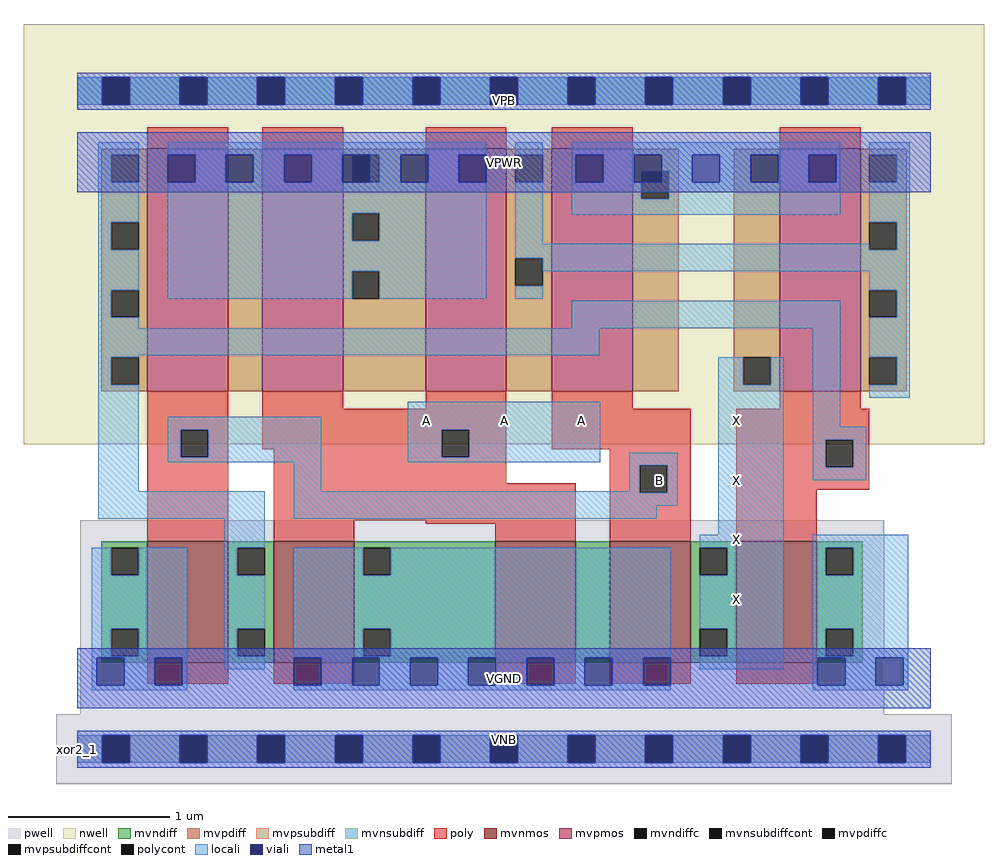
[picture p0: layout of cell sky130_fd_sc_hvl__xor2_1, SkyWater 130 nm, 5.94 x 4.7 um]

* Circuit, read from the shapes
.subckt sky130_fd_sc_hvl__xor2_1 A B VGND VNB VPB VPWR X
XM1 n1 B VGND VNB sky130_fd_pr__nfet_g5v0d10v5 w=0.75 l=0.5
XM2 VGND A n1 VNB sky130_fd_pr__nfet_g5v0d10v5 w=0.75 l=0.5
XM3 n2 A VGND VNB sky130_fd_pr__nfet_g5v0d10v5 w=0.75 l=0.5
XM4 X B n2 VNB sky130_fd_pr__nfet_g5v0d10v5 w=0.75 l=0.5
XM5 VGND n1 X VNB sky130_fd_pr__nfet_g5v0d10v5 w=0.75 l=0.5
XM6 n3 B n1 VPB sky130_fd_pr__pfet_g5v0d10v5 w=1.5 l=0.5
XM7 VPWR A n3 VPB sky130_fd_pr__pfet_g5v0d10v5 w=1.5 l=0.5
XM8 n4 A VPWR VPB sky130_fd_pr__pfet_g5v0d10v5 w=1.5 l=0.5
XM9 VPWR B n4 VPB sky130_fd_pr__pfet_g5v0d10v5 w=1.5 l=0.5
XM10 n4 n1 X VPB sky130_fd_pr__pfet_g5v0d10v5 w=1.5 l=0.5
.ends

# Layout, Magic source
magic
tech sky130B
magscale 1 2
<< nwell >>
rect -66 377 1122 897
<< pwell >>
rect 4 43 998 283
rect -26 -43 1082 43
<< mvnmos >>
rect 87 107 187 257
rect 243 107 343 257
rect 517 107 617 257
rect 659 107 759 257
rect 815 107 915 257
<< mvpmos >>
rect 87 443 187 743
rect 229 443 329 743
rect 431 443 531 743
rect 587 443 687 743
rect 869 443 969 743
<< mvndiff >>
rect 30 249 87 257
rect 30 215 42 249
rect 76 215 87 249
rect 30 149 87 215
rect 30 115 42 149
rect 76 115 87 149
rect 30 107 87 115
rect 187 249 243 257
rect 187 215 198 249
rect 232 215 243 249
rect 187 149 243 215
rect 187 115 198 149
rect 232 115 243 149
rect 187 107 243 115
rect 343 249 517 257
rect 343 215 354 249
rect 388 215 517 249
rect 343 149 517 215
rect 343 115 354 149
rect 388 115 517 149
rect 343 107 517 115
rect 617 107 659 257
rect 759 249 815 257
rect 759 215 770 249
rect 804 215 815 249
rect 759 149 815 215
rect 759 115 770 149
rect 804 115 815 149
rect 759 107 815 115
rect 915 249 972 257
rect 915 215 926 249
rect 960 215 972 249
rect 915 149 972 215
rect 915 115 926 149
rect 960 115 972 149
rect 915 107 972 115
<< mvpdiff >>
rect 30 735 87 743
rect 30 701 42 735
rect 76 701 87 735
rect 30 652 87 701
rect 30 618 42 652
rect 76 618 87 652
rect 30 568 87 618
rect 30 534 42 568
rect 76 534 87 568
rect 30 485 87 534
rect 30 451 42 485
rect 76 451 87 485
rect 30 443 87 451
rect 187 443 229 743
rect 329 735 431 743
rect 329 701 340 735
rect 374 701 431 735
rect 329 663 431 701
rect 329 629 340 663
rect 374 629 431 663
rect 329 591 431 629
rect 329 557 340 591
rect 374 557 431 591
rect 329 443 431 557
rect 531 735 587 743
rect 531 701 542 735
rect 576 701 587 735
rect 531 607 587 701
rect 531 573 542 607
rect 576 573 587 607
rect 531 443 587 573
rect 687 715 744 743
rect 687 681 698 715
rect 732 681 744 715
rect 687 443 744 681
rect 812 485 869 743
rect 812 451 824 485
rect 858 451 869 485
rect 812 443 869 451
rect 969 735 1026 743
rect 969 701 980 735
rect 1014 701 1026 735
rect 969 652 1026 701
rect 969 618 980 652
rect 1014 618 1026 652
rect 969 568 1026 618
rect 969 534 980 568
rect 1014 534 1026 568
rect 969 485 1026 534
rect 969 451 980 485
rect 1014 451 1026 485
rect 969 443 1026 451
<< mvndiffc >>
rect 42 215 76 249
rect 42 115 76 149
rect 198 215 232 249
rect 198 115 232 149
rect 354 215 388 249
rect 354 115 388 149
rect 770 215 804 249
rect 770 115 804 149
rect 926 215 960 249
rect 926 115 960 149
<< mvpdiffc >>
rect 42 701 76 735
rect 42 618 76 652
rect 42 534 76 568
rect 42 451 76 485
rect 340 701 374 735
rect 340 629 374 663
rect 340 557 374 591
rect 542 701 576 735
rect 542 573 576 607
rect 698 681 732 715
rect 824 451 858 485
rect 980 701 1014 735
rect 980 618 1014 652
rect 980 534 1014 568
rect 980 451 1014 485
<< mvpsubdiff >>
rect 0 -17 31 17
rect 65 -17 127 17
rect 161 -17 223 17
rect 257 -17 319 17
rect 353 -17 415 17
rect 449 -17 511 17
rect 545 -17 607 17
rect 641 -17 703 17
rect 737 -17 799 17
rect 833 -17 895 17
rect 929 -17 991 17
rect 1025 -17 1056 17
<< mvnsubdiff >>
rect 0 797 31 831
rect 65 797 127 831
rect 161 797 223 831
rect 257 797 319 831
rect 353 797 415 831
rect 449 797 511 831
rect 545 797 607 831
rect 641 797 703 831
rect 737 797 799 831
rect 833 797 895 831
rect 929 797 991 831
rect 1025 797 1056 831
<< mvpsubdiffcont >>
rect 31 -17 65 17
rect 127 -17 161 17
rect 223 -17 257 17
rect 319 -17 353 17
rect 415 -17 449 17
rect 511 -17 545 17
rect 607 -17 641 17
rect 703 -17 737 17
rect 799 -17 833 17
rect 895 -17 929 17
rect 991 -17 1025 17
<< mvnsubdiffcont >>
rect 31 797 65 831
rect 127 797 161 831
rect 223 797 257 831
rect 319 797 353 831
rect 415 797 449 831
rect 511 797 545 831
rect 607 797 641 831
rect 703 797 737 831
rect 799 797 833 831
rect 895 797 929 831
rect 991 797 1025 831
<< poly >>
rect 87 743 187 769
rect 229 743 329 769
rect 431 743 531 769
rect 587 743 687 769
rect 869 743 969 769
rect 87 395 187 443
rect 87 361 128 395
rect 162 361 187 395
rect 229 421 329 443
rect 431 421 531 443
rect 229 395 531 421
rect 229 371 451 395
rect 87 257 187 361
rect 243 361 451 371
rect 485 361 531 395
rect 587 421 687 443
rect 869 421 969 443
rect 587 371 759 421
rect 243 329 531 361
rect 659 351 759 371
rect 243 283 617 329
rect 243 257 343 283
rect 431 279 617 283
rect 517 257 617 279
rect 659 317 696 351
rect 730 317 759 351
rect 659 257 759 317
rect 815 383 980 421
rect 815 349 926 383
rect 960 349 980 383
rect 815 321 980 349
rect 815 257 915 321
rect 87 81 187 107
rect 243 81 343 107
rect 517 81 617 107
rect 659 81 759 107
rect 815 81 915 107
<< polycont >>
rect 128 361 162 395
rect 451 361 485 395
rect 696 317 730 351
rect 926 349 960 383
<< locali >>
rect 0 797 31 831
rect 65 797 127 831
rect 161 797 223 831
rect 257 797 319 831
rect 353 797 415 831
rect 449 797 511 831
rect 545 797 607 831
rect 641 797 703 831
rect 737 797 799 831
rect 833 797 895 831
rect 929 797 991 831
rect 1025 797 1056 831
rect 26 735 76 751
rect 26 701 42 735
rect 26 652 76 701
rect 26 618 42 652
rect 26 568 76 618
rect 26 534 42 568
rect 112 735 506 751
rect 146 701 184 735
rect 218 701 256 735
rect 290 701 328 735
rect 374 701 400 735
rect 434 701 472 735
rect 112 663 506 701
rect 112 629 340 663
rect 374 629 506 663
rect 112 591 506 629
rect 112 557 340 591
rect 374 557 506 591
rect 542 735 576 751
rect 542 625 576 701
rect 612 735 944 751
rect 612 701 617 735
rect 651 701 689 735
rect 723 715 761 735
rect 732 701 761 715
rect 795 701 833 735
rect 867 701 905 735
rect 939 701 944 735
rect 612 681 698 701
rect 732 681 944 701
rect 612 661 944 681
rect 980 735 1030 751
rect 1014 701 1030 735
rect 980 652 1030 701
rect 542 618 980 625
rect 1014 618 1030 652
rect 542 607 1030 618
rect 576 591 1030 607
rect 542 557 576 573
rect 980 568 1030 591
rect 26 521 76 534
rect 612 521 944 555
rect 26 487 646 521
rect 26 485 76 487
rect 26 451 42 485
rect 26 319 76 451
rect 793 451 824 485
rect 858 451 874 485
rect 112 395 302 411
rect 112 361 128 395
rect 162 361 302 395
rect 112 355 302 361
rect 409 395 647 430
rect 409 361 451 395
rect 485 361 647 395
rect 409 355 647 361
rect 268 319 302 355
rect 683 351 743 367
rect 683 319 696 351
rect 26 285 232 319
rect 268 317 696 319
rect 730 317 743 351
rect 268 301 743 317
rect 268 285 717 301
rect 182 249 232 285
rect 793 265 874 451
rect 910 399 944 521
rect 1014 534 1030 568
rect 980 485 1030 534
rect 1014 451 1030 485
rect 980 435 1030 451
rect 910 383 976 399
rect 910 349 926 383
rect 960 349 976 383
rect 910 333 976 349
rect 770 249 874 265
rect 18 215 42 249
rect 76 215 136 249
rect 18 149 136 215
rect 18 115 42 149
rect 76 115 136 149
rect 18 113 136 115
rect 18 79 24 113
rect 58 79 96 113
rect 130 79 136 113
rect 182 215 198 249
rect 182 149 232 215
rect 182 115 198 149
rect 182 99 232 115
rect 268 215 354 249
rect 388 215 734 249
rect 268 149 734 215
rect 268 115 354 149
rect 388 115 734 149
rect 268 113 734 115
rect 18 73 136 79
rect 302 79 340 113
rect 374 79 412 113
rect 446 79 484 113
rect 518 79 556 113
rect 590 79 628 113
rect 662 79 700 113
rect 804 215 874 249
rect 770 149 874 215
rect 804 115 874 149
rect 770 99 874 115
rect 910 249 1028 265
rect 910 215 926 249
rect 960 215 1028 249
rect 910 149 1028 215
rect 910 115 926 149
rect 960 115 1028 149
rect 910 113 1028 115
rect 268 73 734 79
rect 910 79 916 113
rect 950 79 988 113
rect 1022 79 1028 113
rect 910 73 1028 79
rect 0 -17 31 17
rect 65 -17 127 17
rect 161 -17 223 17
rect 257 -17 319 17
rect 353 -17 415 17
rect 449 -17 511 17
rect 545 -17 607 17
rect 641 -17 703 17
rect 737 -17 799 17
rect 833 -17 895 17
rect 929 -17 991 17
rect 1025 -17 1056 17
<< viali >>
rect 31 797 65 831
rect 127 797 161 831
rect 223 797 257 831
rect 319 797 353 831
rect 415 797 449 831
rect 511 797 545 831
rect 607 797 641 831
rect 703 797 737 831
rect 799 797 833 831
rect 895 797 929 831
rect 991 797 1025 831
rect 112 701 146 735
rect 184 701 218 735
rect 256 701 290 735
rect 328 701 340 735
rect 340 701 362 735
rect 400 701 434 735
rect 472 701 506 735
rect 617 701 651 735
rect 689 715 723 735
rect 689 701 698 715
rect 698 701 723 715
rect 761 701 795 735
rect 833 701 867 735
rect 905 701 939 735
rect 24 79 58 113
rect 96 79 130 113
rect 268 79 302 113
rect 340 79 374 113
rect 412 79 446 113
rect 484 79 518 113
rect 556 79 590 113
rect 628 79 662 113
rect 700 79 734 113
rect 916 79 950 113
rect 988 79 1022 113
rect 31 -17 65 17
rect 127 -17 161 17
rect 223 -17 257 17
rect 319 -17 353 17
rect 415 -17 449 17
rect 511 -17 545 17
rect 607 -17 641 17
rect 703 -17 737 17
rect 799 -17 833 17
rect 895 -17 929 17
rect 991 -17 1025 17
<< metal1 >>
rect 0 831 1056 837
rect 0 797 31 831
rect 65 797 127 831
rect 161 797 223 831
rect 257 797 319 831
rect 353 797 415 831
rect 449 797 511 831
rect 545 797 607 831
rect 641 797 703 831
rect 737 797 799 831
rect 833 797 895 831
rect 929 797 991 831
rect 1025 797 1056 831
rect 0 791 1056 797
rect 0 735 1056 763
rect 0 701 112 735
rect 146 701 184 735
rect 218 701 256 735
rect 290 701 328 735
rect 362 701 400 735
rect 434 701 472 735
rect 506 701 617 735
rect 651 701 689 735
rect 723 701 761 735
rect 795 701 833 735
rect 867 701 905 735
rect 939 701 1056 735
rect 0 689 1056 701
rect 0 113 1056 125
rect 0 79 24 113
rect 58 79 96 113
rect 130 79 268 113
rect 302 79 340 113
rect 374 79 412 113
rect 446 79 484 113
rect 518 79 556 113
rect 590 79 628 113
rect 662 79 700 113
rect 734 79 916 113
rect 950 79 988 113
rect 1022 79 1056 113
rect 0 51 1056 79
rect 0 17 1056 23
rect 0 -17 31 17
rect 65 -17 127 17
rect 161 -17 223 17
rect 257 -17 319 17
rect 353 -17 415 17
rect 449 -17 511 17
rect 545 -17 607 17
rect 641 -17 703 17
rect 737 -17 799 17
rect 833 -17 895 17
rect 929 -17 991 17
rect 1025 -17 1056 17
rect 0 -23 1056 -17
<< labels >>
rlabel comment s 0 0 0 0 4 xor2_1
flabel metal1 s 0 51 1056 125 0 FreeSans 340 0 0 0 VGND
port 3 nsew ground bidirectional
flabel metal1 s 0 0 1056 23 0 FreeSans 340 0 0 0 VNB
port 4 nsew ground bidirectional
flabel metal1 s 0 689 1056 763 0 FreeSans 340 0 0 0 VPWR
port 6 nsew power bidirectional
flabel metal1 s 0 791 1056 814 0 FreeSans 340 0 0 0 VPB
port 5 nsew power bidirectional
flabel locali s 415 390 449 424 0 FreeSans 340 0 0 0 A
port 1 nsew signal input
flabel locali s 511 390 545 424 0 FreeSans 340 0 0 0 A
port 1 nsew signal input
flabel locali s 607 390 641 424 0 FreeSans 340 0 0 0 A
port 1 nsew signal input
flabel locali s 799 168 833 202 0 FreeSans 340 0 0 0 X
port 7 nsew signal output
flabel locali s 799 242 833 276 0 FreeSans 340 0 0 0 X
port 7 nsew signal output
flabel locali s 799 316 833 350 0 FreeSans 340 0 0 0 X
port 7 nsew signal output
flabel locali s 799 390 833 424 0 FreeSans 340 0 0 0 X
port 7 nsew signal output
flabel locali s 703 316 737 350 0 FreeSans 340 0 0 0 B
port 2 nsew signal input
<< properties >>
string FIXED_BBOX 0 0 1056 814
string GDS_END 743414
string GDS_FILE $PDKPATH/libs.ref/sky130_fd_sc_hvl/gds/sky130_fd_sc_hvl.gds
string GDS_START 731354
string LEFclass CORE
string LEFsite unithv
string LEFsymmetry X Y
<< end >>
